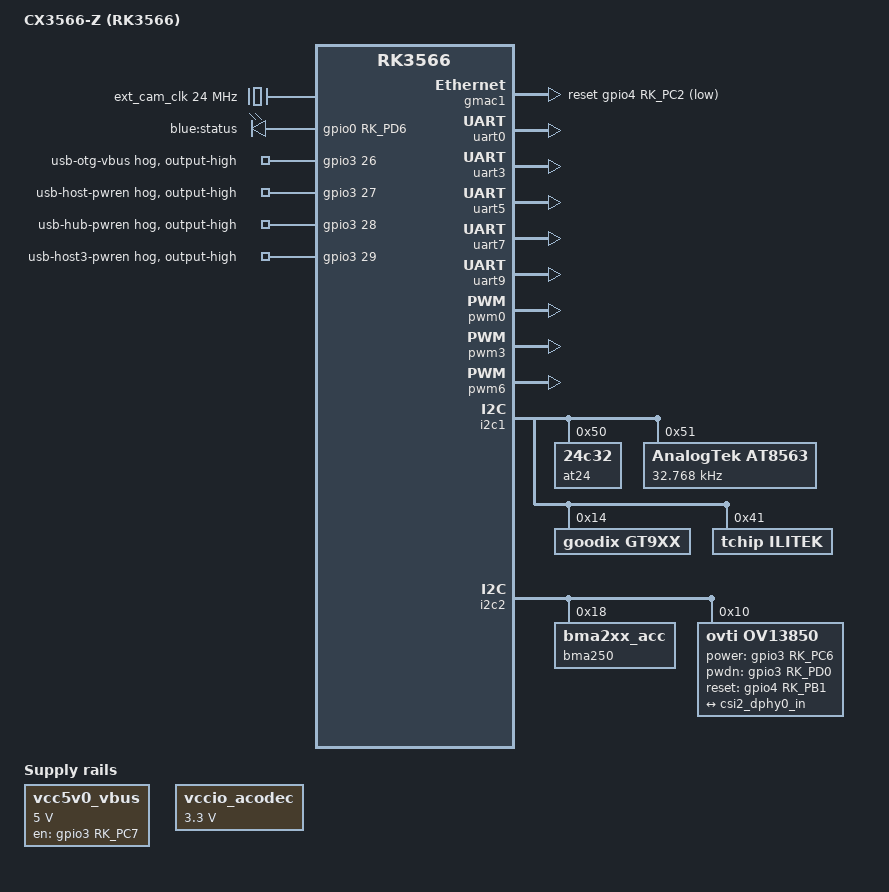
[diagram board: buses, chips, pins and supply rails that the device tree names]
// SPDX-License-Identifier: (GPL-2.0+ OR MIT)
/*
 * Copyright (c) 2026 allonmymind
 *
 * CX3566-Z: RK3566 industrial mini host (2GB LPDDR4X, 16GB eMMC),
 * based on the RK3566 EVB2 LP4X V10 reference design. Everything
 * board-specific is applied below as overrides on top of the EVB2
 * device tree.
 */

/dts-v1/;

#include "rk3566-evb2-lp4x-v10.dtsi"
#include "rk3568-android.dtsi"

#include <dt-bindings/gpio/gpio.h>
#include <dt-bindings/clock/rk3568-cru.h>
#include <dt-bindings/power/rk3568-power.h>

/ {
	model = "CX3566-Z (RK3566)";
	compatible = "rockchip,rk3566-evb2-lp4x-v10", "rockchip,rk3566";

	aliases {
		/* The board has a single MAC (gmac1). */
		ethernet0 = &gmac1;
		/delete-property/ ethernet1;
		/* eMMC first, then TF card, then the SDIO WiFi. */
		mmc0 = &sdhci;
		mmc1 = &sdmmc0;
		mmc2 = &sdmmc1;
	};

	chosen {
		bootargs = "earlycon=uart8250,mmio32,0xfe660000 console=ttyFIQ0,1500000 rootwait";
	};

	ext_cam_clk: external-camera-clock {
		compatible = "fixed-clock";
		#clock-cells = <0>;
		clock-frequency = <24000000>;
		clock-output-names = "CLK_CAMERA_24MHZ";
	};

	leds-board {
		compatible = "gpio-leds";

		status-blue {
			label = "blue:status";
			gpios = <&gpio0 RK_PD6 GPIO_ACTIVE_HIGH>;
			linux,default-trigger = "heartbeat";
			default-state = "on";
		};
	};

	vcc5v0_vbus: vcc5v0-vbus {
		compatible = "regulator-fixed";
		regulator-name = "vcc5v0_vbus";
		regulator-min-microvolt = <5000000>;
		regulator-max-microvolt = <5000000>;
		enable-active-high;
		gpio = <&gpio3 RK_PC7 GPIO_ACTIVE_HIGH>;
		pinctrl-names = "default";
		pinctrl-0 = <&vcc5v0_vbus_en>;
		regulator-always-on;
		regulator-boot-on;
	};

	/* No SPDIF output on this board. */
	spdif-sound {
		status = "disabled";
	};

	/* No OP-TEE / vendor storage partitions on this board. */
	firmware {
		/delete-node/ optee;
	};

	/delete-node/ vendor-storage;
};

&reserved_memory {
	/delete-node/ linux,cma;
	/delete-node/ vendor-storage-rm@00000000;
};

/* The EVB user keys and work LED are not populated. */
&adc_keys {
	status = "disabled";
};

&leds {
	status = "disabled";
};

/*
 * PMU io-domains: VCCIO4/5/6 run from the RK809 DCDC_REG5 rail
 * (vcc_1v8), not from vcc_3v3 as on the EVB. With the EVB selection
 * the Ethernet PHY and the SDIO rails are not powered correctly.
 */
&pmu_io_domains {
	vccio4-supply = <&vcc_1v8>;
	vccio5-supply = <&vcc_1v8>;
	vccio6-supply = <&vcc_1v8>;
};

/* VCCIO1 (vccio_acodec) runs at 3.3V on this board. */
&vccio_acodec {
	regulator-min-microvolt = <3300000>;
	regulator-max-microvolt = <3300000>;
};

/*
 * USB port power: the per-port power switches and the hub power
 * enable are tied on through GPIO hogs on GPIO3.
 */
&gpio3 {
	usb-otg-vbus-hog {
		gpio-hog;
		gpios = <26 GPIO_ACTIVE_HIGH>;
		output-high;
		line-name = "usb-otg-vbus";
	};

	usb-host-pwren-hog {
		gpio-hog;
		gpios = <27 GPIO_ACTIVE_HIGH>;
		output-high;
		line-name = "usb-host-pwren";
	};

	usb-hub-pwren-hog {
		gpio-hog;
		gpios = <28 GPIO_ACTIVE_HIGH>;
		output-high;
		line-name = "usb-hub-pwren";
	};

	usb-host3-pwren-hog {
		gpio-hog;
		gpios = <29 GPIO_ACTIVE_HIGH>;
		output-high;
		line-name = "usb-host3-pwren";
	};
};

/*
 * Ethernet: the RGMII PHY (Maxio MAE0621A) is wired to the gmac1
 * m0 pin group (GPIO3) instead of the EVB's m1 group (GPIO4), and
 * the PHY reset line is GPIO4_C2.
 */
&gmac1 {
	pinctrl-0 = <&gmac1m0_miim &gmac1m0_tx_bus2 &gmac1m0_rx_bus2
		     &gmac1m0_rgmii_clk &gmac1m0_rgmii_bus>;
	snps,reset-gpio = <&gpio4 RK_PC2 GPIO_ACTIVE_LOW>;
};

&gmac1_clkin {
	clock-frequency = <50000000>;
};

&rgmii_phy0 {
	/* green: link/activity, orange: 1000M only */
	maxio,led-data = <0x0368>;
};

/* The vendor tree does not use the CPU high-temperature OPP guard. */
&cpu0_opp_table {
	/delete-property/ rockchip,high-temp;
	/delete-property/ rockchip,high-temp-max-volt;
};

/*
 * GPU operating points for this board's chip binning
 * (bin=0, leakage=7: the vendor L2 column), as single voltages
 * instead of the leakage-indexed L0-L3 tables.
 */
&gpu_opp_table {
	opp-200000000 {
		opp-microvolt = <850000>;
	};

	opp-300000000 {
		opp-microvolt = <850000>;
	};

	opp-400000000 {
		opp-microvolt = <850000>;
	};

	opp-600000000 {
		opp-microvolt = <850000>;
		/delete-property/ opp-microvolt-L0;
		/delete-property/ opp-microvolt-L1;
		/delete-property/ opp-microvolt-L2;
		/delete-property/ opp-microvolt-L3;
	};

	opp-700000000 {
		opp-microvolt = <900000>;
		/delete-property/ opp-microvolt-L0;
		/delete-property/ opp-microvolt-L1;
		/delete-property/ opp-microvolt-L2;
		/delete-property/ opp-microvolt-L3;
	};

	opp-800000000 {
		opp-microvolt = <950000>;
		/delete-property/ opp-microvolt-L0;
		/delete-property/ opp-microvolt-L1;
		/delete-property/ opp-microvolt-L2;
		/delete-property/ opp-microvolt-L3;
	};
};

/* Additional UARTs routed out on this board. */
&uart0 {
	status = "okay";
};

&uart3 {
	status = "okay";
};

&uart5 {
	pinctrl-0 = <&uart5m1_xfer>;
	status = "okay";
};

&uart7 {
	pinctrl-0 = <&uart7m2_xfer>;
	status = "okay";
};

&uart9 {
	pinctrl-0 = <&uart9m2_xfer>;
	status = "okay";
};

&pwm0 {
	status = "okay";
};

/* The IR receiver is on pwm3 on this board (the EVB uses pwm7). */
&pwm3 {
	compatible = "rockchip,remotectl-pwm";
	remote_pwm_id = <3>;
	handle_cpu_id = <1>;
	remote_support_psci = <0>;
	pinctrl-names = "default";
	pinctrl-0 = <&pwm3_pins>;
	status = "okay";

	ir_key1 {
		rockchip,usercode = <0xff00>;
		rockchip,key_table =
			<0xba KEY_POWER>,
			<0xb8 KEY_HOMEPAGE>,
			<0xbf KEY_UP>,
			<0xe6 KEY_DOWN>,
			<0xf8 KEY_LEFT>,
			<0xf6 KEY_RIGHT>,
			<0xea KEY_ENTER>,
			<0xf7 KEY_MENU>,
			<0xa5 KEY_BACK>;
	};

	ir_key2 {
		rockchip,usercode = <0x7f80>;
		rockchip,key_table =
			<0xed KEY_POWER>,
			<0xe1 KEY_HOMEPAGE>,
			<0xfd KEY_UP>,
			<0xf7 KEY_DOWN>,
			<0xfb KEY_LEFT>,
			<0xf9 KEY_RIGHT>,
			<0xfa KEY_ENTER>,
			<0xf5 KEY_MENU>,
			<0xe0 KEY_BACK>;
	};

	ir_key3 {
		rockchip,usercode = <0xfe01>;
		rockchip,key_table =
			<0xe5 KEY_POWER>,
			<0xe4 KEY_BACK>,
			<0xe7 KEY_HOMEPAGE>,
			<0xe0 KEY_UP>,
			<0xf9 KEY_DOWN>,
			<0xfc KEY_LEFT>,
			<0xff KEY_RIGHT>,
			<0xfd KEY_ENTER>,
			<0xe1 KEY_MENU>;
	};
};

&pwm6 {
	status = "okay";
};

&pwm7 {
	compatible = "rockchip,rk3568-pwm", "rockchip,rk3328-pwm";
	/delete-property/ remote_pwm_id;
	/delete-property/ handle_cpu_id;
	/delete-property/ remote_support_psci;
	pinctrl-names = "active";
	status = "disabled";

	/delete-node/ ir_key1;
	/delete-node/ ir_key2;
	/delete-node/ ir_key3;
};

/* The PCIe slot has no separate 3.3V regulator enable. */
&pcie2x1 {
	/delete-property/ vpcie3v3-supply;
};

/* Display: HDMI only; the MIPI-DSI0 and SPDIF paths are unused. */
&dsi0 {
	status = "disabled";
};

&dsi1 {
	panel@0 {
		status = "disabled";
	};
};

&edp {
	force-hpd;
};

&vop {
	/delete-property/ support-multi-area;
	disable-win-move;

	ports {
		port@0 {
			cursor-win-id = <0>;
		};
	};
};

&spdif_8ch {
	status = "disabled";
};

&spdif_out {
	status = "disabled";
};

/*
 * AIC8800DC SDIO WiFi: power is sequenced by the mmc-pwrseq node;
 * the module VBAT enable is GPIO3_D1 (the EVB's poweren GPIO on
 * GPIO2 is not used).
 */
&wireless_wlan {
	/delete-property/ WIFI,poweren_gpio;
	WIFI,vbat_gpio = <&gpio3 RK_PD1 GPIO_ACTIVE_HIGH>;
};

&wireless_bluetooth {
	/delete-property/ bt_port;
};

&pinctrl {
	usb {
		vcc5v0_vbus_en: vcc5v0-vbus-en {
			rockchip,pins = <3 RK_PC7 RK_FUNC_GPIO &pcfg_pull_none>;
		};
	};
};

/*
 * The vcc5v0_otg enable group is not used (the regulator is
 * hard-wired), but the vendor tree parks it on the OTG VBUS hog
 * pin GPIO3_D2.
 */
&vcc5v0_otg_en {
	rockchip,pins = <3 RK_PD2 RK_FUNC_GPIO &pcfg_pull_none>;
};

/* RK809 codec: external amplifier with its own control GPIO. */
&rk809_codec {
	/delete-property/ mic-in-differential;
	/delete-property/ spk-volume;
	use-ext-amplifier;
	spk-ctl-gpios = <&gpio4 RK_PC4 GPIO_ACTIVE_HIGH>;
};

&rk809_sound {
	hp-det-gpio = <&gpio0 RK_PC6 GPIO_ACTIVE_HIGH>;
};

&hp_det {
	rockchip,pins = <0 RK_PC6 RK_FUNC_GPIO &pcfg_pull_up>;
};

/*
 * RK809: the sleep pin function is selected through the PMIC's own
 * pinctrl device, in addition to the SoC-side slppin groups.
 */
&rk809 {
	pinctrl-1 = <&soc_slppin_slp &rk817_slppin_slp>;
	pinctrl-2 = <&soc_slppin_gpio &rk817_slppin_pwrdn>;
	pinctrl-3 = <&soc_slppin_gpio &rk817_slppin_rst>;

	pinctrl_rk8xx {
		gpio-controller;
		#gpio-cells = <2>;

		rk817_slppin_null {
			pins = "gpio_slp";
			function = "pin_fun0";
		};

		rk817_slppin_slp: rk817_slppin_slp {
			pins = "gpio_slp";
			function = "pin_fun1";
		};

		rk817_slppin_pwrdn: rk817_slppin_pwrdn {
			pins = "gpio_slp";
			function = "pin_fun2";
		};

		rk817_slppin_rst: rk817_slppin_rst {
			pins = "gpio_slp";
			function = "pin_fun3";
		};
	};
};

/*
 * These fixed regulators are hard-wired on this board; the EVB's
 * GPIO enables are not connected.
 */
&vcc_camera {
	/delete-property/ gpio;
	/delete-property/ pinctrl-names;
	/delete-property/ pinctrl-0;
};

&vcc3v3_lcd0_n {
	/delete-property/ gpio;
};

&vcc3v3_lcd1_n {
	/delete-property/ gpio;
};

&vcc5v0_otg {
	/delete-property/ gpio;
	/delete-property/ pinctrl-names;
	/delete-property/ pinctrl-0;
};

/* The EVB's GT1X / Hynitron touch controllers are not populated. */
&gt1x {
	status = "disabled";
};

&hynitron {
	status = "disabled";
};

&i2c1 {
	at24@50 {
		compatible = "24c32";
		reg = <0x50>;
		status = "okay";
	};

	at8563@51 {
		compatible = "AnalogTek,AT8563";
		reg = <0x51>;
		#clock-cells = <0>;
		clock-frequency = <32768>;
		clock-output-names = "AT8563";
		status = "okay";
	};

	gt9xx@14 {
		compatible = "goodix,gt9xx";
		reg = <0x14>;
		status = "okay";
		touchscreen-max-id = <11>;
		touchscreen-size-x = <0>;
		touchscreen-size-y = <0>;
		touchscreen-max-w = <512>;
		touchscreen-max-p = <512>;
		goodix,driver-send-cfg = <0>;
		/* as shipped in the vendor tree (sic) */
		oodix,auto-update = <0>;
		goodix,auto-update-cfg = <0>;
		goodix,cfg-group0 = [53 d0 02 00 05 05 f5 d5 21 48 2d 0f
				     5a 41 0e 05 00 00 32 32 20 00 05 14
				     14 1a 14 8b 2b 00];
		goodix,esd-protect = <1>;
		goodix,int-sync = <1>;
		goodix,pen-suppress-finger = <0>;
		goodix,power-off-sleep = <0>;
		goodix,resume-in-workqueue = <0>;
		goodix,reverse-x = <0>;
		goodix,reverse-y = <0>;
		goodix,slide-wakeup = <0>;
		goodix,swap-x2y = <0>;
		goodix,type-a-report = <0>;
	};

	ilitek@41 {
		compatible = "tchip,ilitek";
		reg = <0x41>;
		status = "okay";
	};
};

/* The EVB camera actuators/sensors below are not populated. */
&dw9714 {
	status = "disabled";
};

&gc5025 {
	status = "disabled";
};

&gc8034 {
	status = "disabled";
};

&ov5695 {
	status = "disabled";
};

&i2c2 {
	bma250@18 {
		compatible = "bma2xx_acc";
		reg = <0x18>;
		type = <2>;
		layout = <8>;
		irq_enable = <0>;
		poll_delay_ms = <30>;
		status = "okay";
	};

	ov13850@10 {
		compatible = "ovti,ov13850";
		reg = <0x10>;
		clocks = <&cru CLK_CAM0_OUT>;
		clock-names = "xvclk";
		pinctrl-names = "default";
		pinctrl-0 = <&cam_clkout0>;
		power-domains = <&power RK3568_PD_VI>;
		power-gpios = <&gpio3 RK_PC6 GPIO_ACTIVE_HIGH>;
		pwdn-gpios = <&gpio3 RK_PD0 GPIO_ACTIVE_HIGH>;
		reset-gpios = <&gpio4 RK_PB1 GPIO_ACTIVE_HIGH>;
		rockchip,camera-module-index = <0>;
		rockchip,camera-module-facing = "back";
		rockchip,camera-module-name = "ZC-OV13850R2A-V1";
		rockchip,camera-module-lens-name = "Largan-50064B31";
		status = "okay";

		port {
			ov13850_out: endpoint {
				data-lanes = <1 2 3 4>;
				remote-endpoint = <&csi2_dphy0_in>;
			};
		};
	};
};

&csi2_dphy0 {
	ports {
		port@0 {
			csi2_dphy0_in: endpoint@0 {
				reg = <0>;
				data-lanes = <1 2 3 4>;
				remote-endpoint = <&ov13850_out>;
			};
		};
	};
};

/* The camera chain runs 4 lanes wide on this board. */
&rkcif_mipi_lvds {
	port {
		endpoint {
			data-lanes = <1 2 3 4>;
		};
	};
};

/* I2C5 and its accelerometer are not routed on this board. */
&i2c5 {
	status = "disabled";
};

&mxc6655xa {
	status = "disabled";
};
